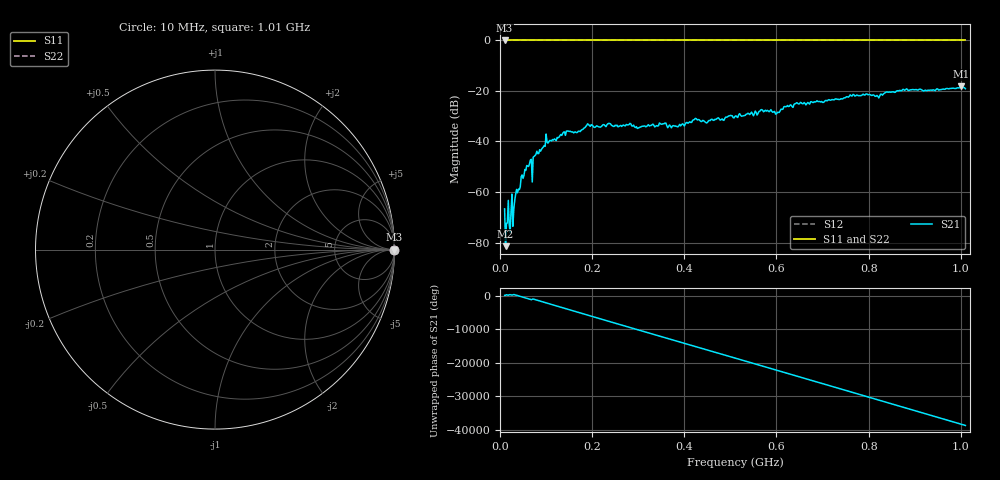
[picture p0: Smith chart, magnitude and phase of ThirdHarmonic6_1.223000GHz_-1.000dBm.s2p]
! 8/16/2025 12:51:10 PM
! C:\ANRITSUVNA\TEMP\TEMP.S2P
! CHANNEL.1
! TR.MEASUREMENT
! RAW.DATA
! RF.CORRECTION.OFF
! AVERAGING.OFF
! IF.BANDWIDTH: 5KHZ
! SWEEPTYPE:  FREQ.SWEEP(Linear)
! Reference Plane Port Info
! PORT:  PORT1  PORT2
! DISTANCE:  0  m  0  m
! TIME:  0  s  0  s
! PHASE.OFFSET:  0  deg.  0  deg.
! LOSS:  0  dB  0  dB
! REF.LOSS:  0  dB  0  dB
! REF.FREQ:  0  Hz  0  Hz
! Power Info
! POWER:  -20  dBm  -20  dBm
! EFF.POWER:  -20  dBm  -20  dBm
! SOURCE.ATTEN:  0  dB  0  dB
! TEST.ATTEN:  0  dB  0  dB
# GHZ S RI R 50.0
! FREQ.GHZ  S11RE  S11IM  S21RE  S21IM  S12RE  S12IM  S22RE  S22IM
!; PortSelection: Port_12
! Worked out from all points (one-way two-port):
!   501 points, 10 MHz to 1.01 GHz, reference 50 ohm
!   highest |S21| = -18.22 dB at 1 GHz (marker M1); lowest = -81.4 dB at 12 MHz (marker M2)
!   lowest |S11| = 0.0 dB at 10 MHz (marker M3)
!   |S11| at or under -10 dB: nowhere
!   |S22| runs from 0.0 to 0.0 dB; largest |S21 - S12| = 1.1
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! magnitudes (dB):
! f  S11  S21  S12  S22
! 10 MHz  0.0  -66.7  0.0  0.0
! 12 MHz  0.0  -81.4  0.0  0.0
! 16 MHz  0.0  -72.3  0.0  0.0
! 22 MHz  0.0  -75.9  0.0  0.0
! 24 MHz  0.0  -67.6  0.0  0.0
! 36 MHz  0.0  -59.0  0.0  0.0
! 50 MHz  0.0  -54.6  0.0  0.0
! 64 MHz  0.0  -48.8  0.0  0.0
! 74 MHz  0.0  -45.9  0.0  0.0
! 76 MHz  0.0  -45.6  0.0  0.0
! 104 MHz  0.0  -40.7  0.0  0.0
! 178 MHz  0.0  -35.3  0.0  0.0
! 194 MHz  0.0  -33.7  0.0  0.0
! 344 MHz  0.0  -33.8  0.0  0.0
! 510 MHz  0.0  -30.1  0.0  0.0
! 566 MHz  0.0  -27.5  0.0  0.0
! 602 MHz  0.0  -28.4  0.0  0.0
! 620 MHz  0.0  -26.2  0.0  0.0
! 678 MHz  0.0  -24.5  0.0  0.0
! 844 MHz  0.0  -20.5  0.0  0.0
! 1 GHz  0.0  -18.2  0.0  0.0
! 1.01 GHz  0.0  -19.1  0.0  0.0
